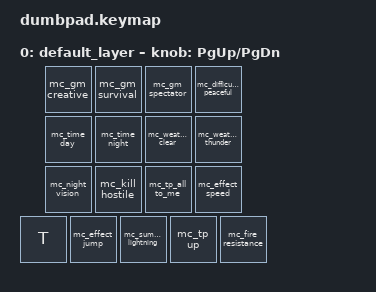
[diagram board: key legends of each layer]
/*
 * Copyright (c) 2023 Daniel Ferrer
 *
 * SPDX-License-Identifier: MIT
 */

// Minecraft (Bedrock, Nintendo Switch) command pad. Single layer, no Claude
// bindings -- the Claude Desktop control-surface keymap is parked, still
// available in git history at commit bdd6a78 if you want it back later.
//
// Requires a wired USB connection (via the Switch dock's USB-A port, or a
// USB-C-to-A adapter) -- Switch's own USB-C port isn't a host port in
// handheld mode, and Bluetooth keyboards are unreliable on Switch.
//
// Every command key: presses "/" (opens Minecraft's chat box pre-filled with
// "/"), types the rest of the command, then Enter to send. The bottom-left
// key (the encoder's push-button) instead sends plain "T", which opens chat
// for a normal (non-command) message.

#include <behaviors.dtsi>
#include <dt-bindings/zmk/keys.h>

/ {

        macros {
              mc_gm_creative: mc_gm_creative {
                label = "ZM_MC_GM_CREATIVE";
                compatible = "zmk,behavior-macro";
                #binding-cells = <0>;
                wait-ms = <20>;
                tap-ms = <10>;
                bindings
                        = <&macro_tap &kp FSLH>
                        , <&macro_tap &kp G>
                        , <&macro_tap &kp A>
                        , <&macro_tap &kp M>
                        , <&macro_tap &kp E>
                        , <&macro_tap &kp M>
                        , <&macro_tap &kp O>
                        , <&macro_tap &kp D>
                        , <&macro_tap &kp E>
                        , <&macro_tap &kp SPACE>
                        , <&macro_tap &kp C>
                        , <&macro_tap &kp R>
                        , <&macro_tap &kp E>
                        , <&macro_tap &kp A>
                        , <&macro_tap &kp T>
                        , <&macro_tap &kp I>
                        , <&macro_tap &kp V>
                        , <&macro_tap &kp E>
                        , <&macro_tap &kp RET>
                        ;
              };

              mc_gm_survival: mc_gm_survival {
                label = "ZM_MC_GM_SURVIVAL";
                compatible = "zmk,behavior-macro";
                #binding-cells = <0>;
                wait-ms = <20>;
                tap-ms = <10>;
                bindings
                        = <&macro_tap &kp FSLH>
                        , <&macro_tap &kp G>
                        , <&macro_tap &kp A>
                        , <&macro_tap &kp M>
                        , <&macro_tap &kp E>
                        , <&macro_tap &kp M>
                        , <&macro_tap &kp O>
                        , <&macro_tap &kp D>
                        , <&macro_tap &kp E>
                        , <&macro_tap &kp SPACE>
                        , <&macro_tap &kp S>
                        , <&macro_tap &kp U>
                        , <&macro_tap &kp R>
                        , <&macro_tap &kp V>
                        , <&macro_tap &kp I>
                        , <&macro_tap &kp V>
                        , <&macro_tap &kp A>
                        , <&macro_tap &kp L>
                        , <&macro_tap &kp RET>
                        ;
              };

              // /effect @s fire_resistance 999 1 -- fire/lava immunity.
              mc_fire_resistance: mc_fire_resistance {
                label = "ZM_MC_FIRE_RESISTANCE";
                compatible = "zmk,behavior-macro";
                #binding-cells = <0>;
                wait-ms = <20>;
                tap-ms = <10>;
                bindings
                        = <&macro_tap &kp FSLH>
                        , <&macro_tap &kp E>
                        , <&macro_tap &kp F>
                        , <&macro_tap &kp F>
                        , <&macro_tap &kp E>
                        , <&macro_tap &kp C>
                        , <&macro_tap &kp T>
                        , <&macro_tap &kp SPACE>
                        , <&macro_tap &kp AT>
                        , <&macro_tap &kp S>
                        , <&macro_tap &kp SPACE>
                        , <&macro_tap &kp F>
                        , <&macro_tap &kp I>
                        , <&macro_tap &kp R>
                        , <&macro_tap &kp E>
                        , <&macro_tap &kp UNDER>
                        , <&macro_tap &kp R>
                        , <&macro_tap &kp E>
                        , <&macro_tap &kp S>
                        , <&macro_tap &kp I>
                        , <&macro_tap &kp S>
                        , <&macro_tap &kp T>
                        , <&macro_tap &kp A>
                        , <&macro_tap &kp N>
                        , <&macro_tap &kp C>
                        , <&macro_tap &kp E>
                        , <&macro_tap &kp SPACE>
                        , <&macro_tap &kp N9>
                        , <&macro_tap &kp N9>
                        , <&macro_tap &kp N9>
                        , <&macro_tap &kp SPACE>
                        , <&macro_tap &kp N1>
                        , <&macro_tap &kp RET>
                        ;
              };

              mc_time_day: mc_time_day {
                label = "ZM_MC_TIME_DAY";
                compatible = "zmk,behavior-macro";
                #binding-cells = <0>;
                wait-ms = <20>;
                tap-ms = <10>;
                bindings
                        = <&macro_tap &kp FSLH>
                        , <&macro_tap &kp T>
                        , <&macro_tap &kp I>
                        , <&macro_tap &kp M>
                        , <&macro_tap &kp E>
                        , <&macro_tap &kp SPACE>
                        , <&macro_tap &kp S>
                        , <&macro_tap &kp E>
                        , <&macro_tap &kp T>
                        , <&macro_tap &kp SPACE>
                        , <&macro_tap &kp D>
                        , <&macro_tap &kp A>
                        , <&macro_tap &kp Y>
                        , <&macro_tap &kp RET>
                        ;
              };

              mc_time_night: mc_time_night {
                label = "ZM_MC_TIME_NIGHT";
                compatible = "zmk,behavior-macro";
                #binding-cells = <0>;
                wait-ms = <20>;
                tap-ms = <10>;
                bindings
                        = <&macro_tap &kp FSLH>
                        , <&macro_tap &kp T>
                        , <&macro_tap &kp I>
                        , <&macro_tap &kp M>
                        , <&macro_tap &kp E>
                        , <&macro_tap &kp SPACE>
                        , <&macro_tap &kp S>
                        , <&macro_tap &kp E>
                        , <&macro_tap &kp T>
                        , <&macro_tap &kp SPACE>
                        , <&macro_tap &kp N>
                        , <&macro_tap &kp I>
                        , <&macro_tap &kp G>
                        , <&macro_tap &kp H>
                        , <&macro_tap &kp T>
                        , <&macro_tap &kp RET>
                        ;
              };

              mc_weather_clear: mc_weather_clear {
                label = "ZM_MC_WEATHER_CLEAR";
                compatible = "zmk,behavior-macro";
                #binding-cells = <0>;
                wait-ms = <20>;
                tap-ms = <10>;
                bindings
                        = <&macro_tap &kp FSLH>
                        , <&macro_tap &kp W>
                        , <&macro_tap &kp E>
                        , <&macro_tap &kp A>
                        , <&macro_tap &kp T>
                        , <&macro_tap &kp H>
                        , <&macro_tap &kp E>
                        , <&macro_tap &kp R>
                        , <&macro_tap &kp SPACE>
                        , <&macro_tap &kp C>
                        , <&macro_tap &kp L>
                        , <&macro_tap &kp E>
                        , <&macro_tap &kp A>
                        , <&macro_tap &kp R>
                        , <&macro_tap &kp RET>
                        ;
              };

              mc_tp_up: mc_tp_up {
                label = "ZM_MC_TP_UP";
                compatible = "zmk,behavior-macro";
                #binding-cells = <0>;
                wait-ms = <20>;
                tap-ms = <10>;
                bindings
                        = <&macro_tap &kp FSLH>
                        , <&macro_tap &kp T>
                        , <&macro_tap &kp P>
                        , <&macro_tap &kp SPACE>
                        , <&macro_tap &kp AT>
                        , <&macro_tap &kp S>
                        , <&macro_tap &kp SPACE>
                        , <&macro_tap &kp TILDE>
                        , <&macro_tap &kp SPACE>
                        , <&macro_tap &kp TILDE>
                        , <&macro_tap &kp N1>
                        , <&macro_tap &kp N0>
                        , <&macro_tap &kp SPACE>
                        , <&macro_tap &kp TILDE>
                        , <&macro_tap &kp RET>
                        ;
              };

              // /effect @s night_vision 999 1 -- permanent night vision.
              mc_night_vision: mc_night_vision {
                label = "ZM_MC_NIGHT_VISION";
                compatible = "zmk,behavior-macro";
                #binding-cells = <0>;
                wait-ms = <20>;
                tap-ms = <10>;
                bindings
                        = <&macro_tap &kp FSLH>
                        , <&macro_tap &kp E>
                        , <&macro_tap &kp F>
                        , <&macro_tap &kp F>
                        , <&macro_tap &kp E>
                        , <&macro_tap &kp C>
                        , <&macro_tap &kp T>
                        , <&macro_tap &kp SPACE>
                        , <&macro_tap &kp AT>
                        , <&macro_tap &kp S>
                        , <&macro_tap &kp SPACE>
                        , <&macro_tap &kp N>
                        , <&macro_tap &kp I>
                        , <&macro_tap &kp G>
                        , <&macro_tap &kp H>
                        , <&macro_tap &kp T>
                        , <&macro_tap &kp UNDER>
                        , <&macro_tap &kp V>
                        , <&macro_tap &kp I>
                        , <&macro_tap &kp S>
                        , <&macro_tap &kp I>
                        , <&macro_tap &kp O>
                        , <&macro_tap &kp N>
                        , <&macro_tap &kp SPACE>
                        , <&macro_tap &kp N9>
                        , <&macro_tap &kp N9>
                        , <&macro_tap &kp N9>
                        , <&macro_tap &kp SPACE>
                        , <&macro_tap &kp N1>
                        , <&macro_tap &kp RET>
                        ;
              };

              mc_difficulty_peaceful: mc_difficulty_peaceful {
                label = "ZM_MC_DIFFICULTY_PEACEFUL";
                compatible = "zmk,behavior-macro";
                #binding-cells = <0>;
                wait-ms = <20>;
                tap-ms = <10>;
                bindings
                        = <&macro_tap &kp FSLH>
                        , <&macro_tap &kp D>
                        , <&macro_tap &kp I>
                        , <&macro_tap &kp F>
                        , <&macro_tap &kp F>
                        , <&macro_tap &kp I>
                        , <&macro_tap &kp C>
                        , <&macro_tap &kp U>
                        , <&macro_tap &kp L>
                        , <&macro_tap &kp T>
                        , <&macro_tap &kp Y>
                        , <&macro_tap &kp SPACE>
                        , <&macro_tap &kp P>
                        , <&macro_tap &kp E>
                        , <&macro_tap &kp A>
                        , <&macro_tap &kp C>
                        , <&macro_tap &kp E>
                        , <&macro_tap &kp F>
                        , <&macro_tap &kp U>
                        , <&macro_tap &kp L>
                        , <&macro_tap &kp RET>
                        ;
              };

              // /kill @e[family=monster] -- only hostile mobs (zombies,
              // skeletons, creepers, etc.), leaves tamed/passive mobs alone.
              mc_kill_hostile: mc_kill_hostile {
                label = "ZM_MC_KILL_HOSTILE";
                compatible = "zmk,behavior-macro";
                #binding-cells = <0>;
                wait-ms = <20>;
                tap-ms = <10>;
                bindings
                        = <&macro_tap &kp FSLH>
                        , <&macro_tap &kp K>
                        , <&macro_tap &kp I>
                        , <&macro_tap &kp L>
                        , <&macro_tap &kp L>
                        , <&macro_tap &kp SPACE>
                        , <&macro_tap &kp AT>
                        , <&macro_tap &kp E>
                        , <&macro_tap &kp LBKT>
                        , <&macro_tap &kp F>
                        , <&macro_tap &kp A>
                        , <&macro_tap &kp M>
                        , <&macro_tap &kp I>
                        , <&macro_tap &kp L>
                        , <&macro_tap &kp Y>
                        , <&macro_tap &kp EQUAL>
                        , <&macro_tap &kp M>
                        , <&macro_tap &kp O>
                        , <&macro_tap &kp N>
                        , <&macro_tap &kp S>
                        , <&macro_tap &kp T>
                        , <&macro_tap &kp E>
                        , <&macro_tap &kp R>
                        , <&macro_tap &kp RBKT>
                        , <&macro_tap &kp RET>
                        ;
              };

              // /tp @a @s -- teleports every player to you (gather the group).
              mc_tp_all_to_me: mc_tp_all_to_me {
                label = "ZM_MC_TP_ALL_TO_ME";
                compatible = "zmk,behavior-macro";
                #binding-cells = <0>;
                wait-ms = <20>;
                tap-ms = <10>;
                bindings
                        = <&macro_tap &kp FSLH>
                        , <&macro_tap &kp T>
                        , <&macro_tap &kp P>
                        , <&macro_tap &kp SPACE>
                        , <&macro_tap &kp AT>
                        , <&macro_tap &kp A>
                        , <&macro_tap &kp SPACE>
                        , <&macro_tap &kp AT>
                        , <&macro_tap &kp S>
                        , <&macro_tap &kp RET>
                        ;
              };

              mc_effect_speed: mc_effect_speed {
                label = "ZM_MC_EFFECT_SPEED";
                compatible = "zmk,behavior-macro";
                #binding-cells = <0>;
                wait-ms = <20>;
                tap-ms = <10>;
                bindings
                        = <&macro_tap &kp FSLH>
                        , <&macro_tap &kp E>
                        , <&macro_tap &kp F>
                        , <&macro_tap &kp F>
                        , <&macro_tap &kp E>
                        , <&macro_tap &kp C>
                        , <&macro_tap &kp T>
                        , <&macro_tap &kp SPACE>
                        , <&macro_tap &kp AT>
                        , <&macro_tap &kp S>
                        , <&macro_tap &kp SPACE>
                        , <&macro_tap &kp S>
                        , <&macro_tap &kp P>
                        , <&macro_tap &kp E>
                        , <&macro_tap &kp E>
                        , <&macro_tap &kp D>
                        , <&macro_tap &kp SPACE>
                        , <&macro_tap &kp N9>
                        , <&macro_tap &kp N9>
                        , <&macro_tap &kp N9>
                        , <&macro_tap &kp SPACE>
                        , <&macro_tap &kp N2>
                        , <&macro_tap &kp RET>
                        ;
              };

              mc_effect_jump: mc_effect_jump {
                label = "ZM_MC_EFFECT_JUMP";
                compatible = "zmk,behavior-macro";
                #binding-cells = <0>;
                wait-ms = <20>;
                tap-ms = <10>;
                bindings
                        = <&macro_tap &kp FSLH>
                        , <&macro_tap &kp E>
                        , <&macro_tap &kp F>
                        , <&macro_tap &kp F>
                        , <&macro_tap &kp E>
                        , <&macro_tap &kp C>
                        , <&macro_tap &kp T>
                        , <&macro_tap &kp SPACE>
                        , <&macro_tap &kp AT>
                        , <&macro_tap &kp S>
                        , <&macro_tap &kp SPACE>
                        , <&macro_tap &kp J>
                        , <&macro_tap &kp U>
                        , <&macro_tap &kp M>
                        , <&macro_tap &kp P>
                        , <&macro_tap &kp UNDER>
                        , <&macro_tap &kp B>
                        , <&macro_tap &kp O>
                        , <&macro_tap &kp O>
                        , <&macro_tap &kp S>
                        , <&macro_tap &kp T>
                        , <&macro_tap &kp SPACE>
                        , <&macro_tap &kp N9>
                        , <&macro_tap &kp N9>
                        , <&macro_tap &kp N9>
                        , <&macro_tap &kp SPACE>
                        , <&macro_tap &kp N2>
                        , <&macro_tap &kp RET>
                        ;
              };

              mc_summon_lightning: mc_summon_lightning {
                label = "ZM_MC_SUMMON_LIGHTNING";
                compatible = "zmk,behavior-macro";
                #binding-cells = <0>;
                wait-ms = <20>;
                tap-ms = <10>;
                bindings
                        = <&macro_tap &kp FSLH>
                        , <&macro_tap &kp S>
                        , <&macro_tap &kp U>
                        , <&macro_tap &kp M>
                        , <&macro_tap &kp M>
                        , <&macro_tap &kp O>
                        , <&macro_tap &kp N>
                        , <&macro_tap &kp SPACE>
                        , <&macro_tap &kp L>
                        , <&macro_tap &kp I>
                        , <&macro_tap &kp G>
                        , <&macro_tap &kp H>
                        , <&macro_tap &kp T>
                        , <&macro_tap &kp N>
                        , <&macro_tap &kp I>
                        , <&macro_tap &kp N>
                        , <&macro_tap &kp G>
                        , <&macro_tap &kp UNDER>
                        , <&macro_tap &kp B>
                        , <&macro_tap &kp O>
                        , <&macro_tap &kp L>
                        , <&macro_tap &kp T>
                        , <&macro_tap &kp SPACE>
                        , <&macro_tap &kp TILDE>
                        , <&macro_tap &kp SPACE>
                        , <&macro_tap &kp TILDE>
                        , <&macro_tap &kp SPACE>
                        , <&macro_tap &kp TILDE>
                        , <&macro_tap &kp RET>
                        ;
              };

              mc_weather_thunder: mc_weather_thunder {
                label = "ZM_MC_WEATHER_THUNDER";
                compatible = "zmk,behavior-macro";
                #binding-cells = <0>;
                wait-ms = <20>;
                tap-ms = <10>;
                bindings
                        = <&macro_tap &kp FSLH>
                        , <&macro_tap &kp W>
                        , <&macro_tap &kp E>
                        , <&macro_tap &kp A>
                        , <&macro_tap &kp T>
                        , <&macro_tap &kp H>
                        , <&macro_tap &kp E>
                        , <&macro_tap &kp R>
                        , <&macro_tap &kp SPACE>
                        , <&macro_tap &kp T>
                        , <&macro_tap &kp H>
                        , <&macro_tap &kp U>
                        , <&macro_tap &kp N>
                        , <&macro_tap &kp D>
                        , <&macro_tap &kp E>
                        , <&macro_tap &kp R>
                        , <&macro_tap &kp RET>
                        ;
              };

              mc_gm_spectator: mc_gm_spectator {
                label = "ZM_MC_GM_SPECTATOR";
                compatible = "zmk,behavior-macro";
                #binding-cells = <0>;
                wait-ms = <20>;
                tap-ms = <10>;
                bindings
                        = <&macro_tap &kp FSLH>
                        , <&macro_tap &kp G>
                        , <&macro_tap &kp A>
                        , <&macro_tap &kp M>
                        , <&macro_tap &kp E>
                        , <&macro_tap &kp M>
                        , <&macro_tap &kp O>
                        , <&macro_tap &kp D>
                        , <&macro_tap &kp E>
                        , <&macro_tap &kp SPACE>
                        , <&macro_tap &kp S>
                        , <&macro_tap &kp P>
                        , <&macro_tap &kp E>
                        , <&macro_tap &kp C>
                        , <&macro_tap &kp T>
                        , <&macro_tap &kp A>
                        , <&macro_tap &kp T>
                        , <&macro_tap &kp O>
                        , <&macro_tap &kp R>
                        , <&macro_tap &kp RET>
                        ;
              };

        };


    keymap {
        compatible = "zmk,keymap";

        default_layer {
// -----------------------------------------------------------------------
// | GM CREATIVE  | GM SURVIVAL | GM SPECTATE  | DIFF PEACE    |
// | TIME DAY     | TIME NIGHT  | WEATHER CLR  | WEATHER THNDR |
// | NIGHT VISION | KILL HOSTILE| TP ALL TO ME | FX SPEED      |
// | CHAT (T)*    | FX JUMP     | LIGHTNING    | TP UP   | FIRE RESIST
// -----------------------------------------------------------------------
// The 4 gamemode/difficulty keys (CREATIVE/SURVIVAL/SPECTATE/DIFF PEACE)
// are grouped in row 0; the 4 time/weather keys are grouped in row 1.
// KILL HOSTILE only targets hostile mobs (@e[family=monster]). TP ALL TO
// ME teleports every player to you (@a to @s) -- handy for gathering the
// group, and doubles as a prank.
// Every key except CHAT is a macro: "/" (opens chat pre-filled with the
// command prefix) + the rest of the command text + Enter.
// CHAT* is the encoder's push-button (this PCB's combo Cherry MX/EC11
// socket wires the encoder click into the matrix as this key) -- sends
// plain "T" to open chat for a normal (non-command) message.
// Encoder rotation scrolls the chat history (Page Up/Down).
            bindings = <
                &mc_gm_creative   &mc_gm_survival   &mc_gm_spectator  &mc_difficulty_peaceful
                &mc_time_day      &mc_time_night        &mc_weather_clear &mc_weather_thunder
                &mc_night_vision  &mc_kill_hostile  &mc_tp_all_to_me    &mc_effect_speed
    &kp T  &mc_effect_jump  &mc_summon_lightning  &mc_tp_up  &mc_fire_resistance
            >;

            sensor-bindings = <&inc_dec_kp PG_UP PG_DN>;
        };
    };
};
